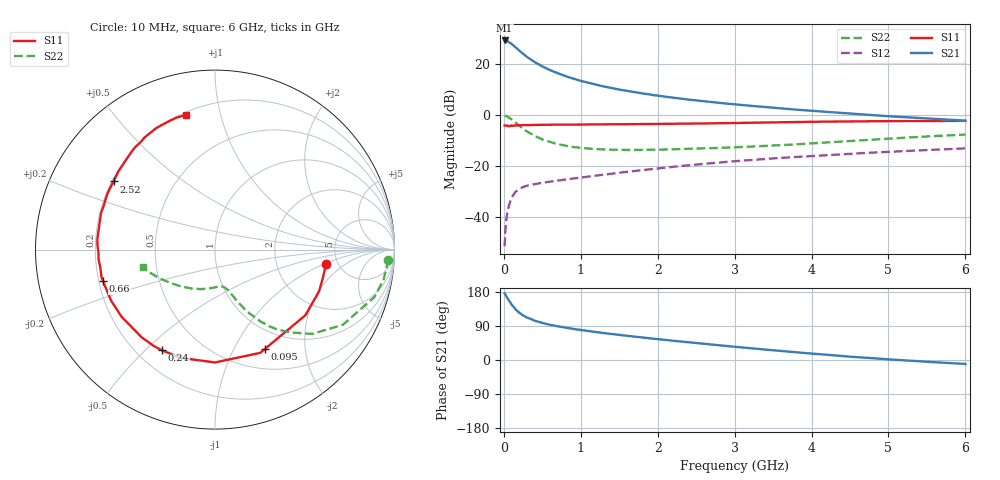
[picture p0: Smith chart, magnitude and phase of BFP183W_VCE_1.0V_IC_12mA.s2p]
! Infineon Technologies  Discrete & RF Semiconductors
! BFP183W
! VCE = 1.0 V,  IC =  12 mA
! Common Emitter S-Parameters:  Jan 2016
# GHz  S  MA  R  50
!  f  S11  S21  S12  S22
! GHz  MAG  ANG  MAG  ANG  MAG  ANG  MAG  ANG
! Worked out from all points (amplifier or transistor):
!   210 points, 10 MHz to 6 GHz, reference 50 ohm
!   highest |S21| = 29.2 dB at 10 MHz (marker M1)
!   |S21| within 3 dB of that: start of sweep to 164.8 MHz
!   unconditionally stable (mu >= 1): 1.052 GHz to end of sweep
!   at 185 MHz: K = 0.27, MSG = 27.5 dB, |S12| = -29.3 dB
!   at 1.52 GHz: K = 1.15, MAG = 13.9 dB, |S12| = -22.5 dB
!   at 6 GHz: K = 1.03, MAG = 4.4 dB, |S12| = -13.1 dB
!   S11 on the Smith chart (normalised r, x): 10 MHz: 4.01, -1.07; 95 MHz: 0.74, -1.33; 240 MHz: 0.30, -0.56; 660 MHz: 0.22, -0.13; 2.52 GHz: 0.21, +0.29; 6 GHz: 0.21, +0.79
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0.01  0.6238 -7.5  28.87 175.6  0.0027 87.3  0.9679 -3.3
0.02  0.6214 -14.7  28.83 172.7  0.0056 83.4  0.9591 -6.8
0.03  0.6246 -22.0  28.71 169.1  0.0083 80.8  0.9541 -10.1
0.05  0.6225 -36.0  27.85 161.7  0.0134 74.4  0.9268 -16.6
0.095  0.6198 -63.5  25.04 148.0  0.0228 62.9  0.8344 -28.9
0.1  0.6281 -66.4  24.82 146.3  0.0239 62.2  0.8268 -30.4
0.15  0.6286 -90.0  21.42 133.7  0.0311 52.6  0.7163 -41.0
0.2  0.6328 -107.6  18.3 124.5  0.0356 47.3  0.6183 -48.2
0.24  0.6342 -117.8  16.32 119.1  0.0382 43.8  0.5549 -52.6
0.3  0.637 -130.0  13.77 112.1  0.0412 40.3  0.4766 -57.5
0.4  0.6409 -144.3  10.9 103.7  0.0444 37.6  0.3896 -62.6
0.5  0.645 -153.9  8.966 97.6  0.0471 37.4  0.3333 -65.6
0.66  0.6476 -164.3  6.983 90.6  0.051 38.0  0.2799 -68.7
0.8  0.6469 -171.4  5.783 85.2  0.0543 39.2  0.2507 -70.9
1.02  0.6505 -179.5  4.581 78.7  0.06 41.4  0.226 -74.0
1.4  0.6577 169.7  3.375 68.7  0.071 44.5  0.2094 -79.4
2.02  0.6705 155.7  2.37 54.7  0.0908 46.8  0.2098 -89.8
2.52  0.6812 146.1  1.918 44.3  0.1077 46.5  0.2199 -99.5
3.1  0.7015 135.8  1.567 33.1  0.1278 44.7  0.237 -112.1
4.1  0.7399 120.9  1.181 15.4  0.1611 40.0  0.2841 -134.8
5.1  0.7602 109.7  0.928 0.5  0.1934 34.1  0.3514 -153.7
6  0.7676 102.1  0.777 -10.4  0.2221 28.8  0.4136 -166.1
